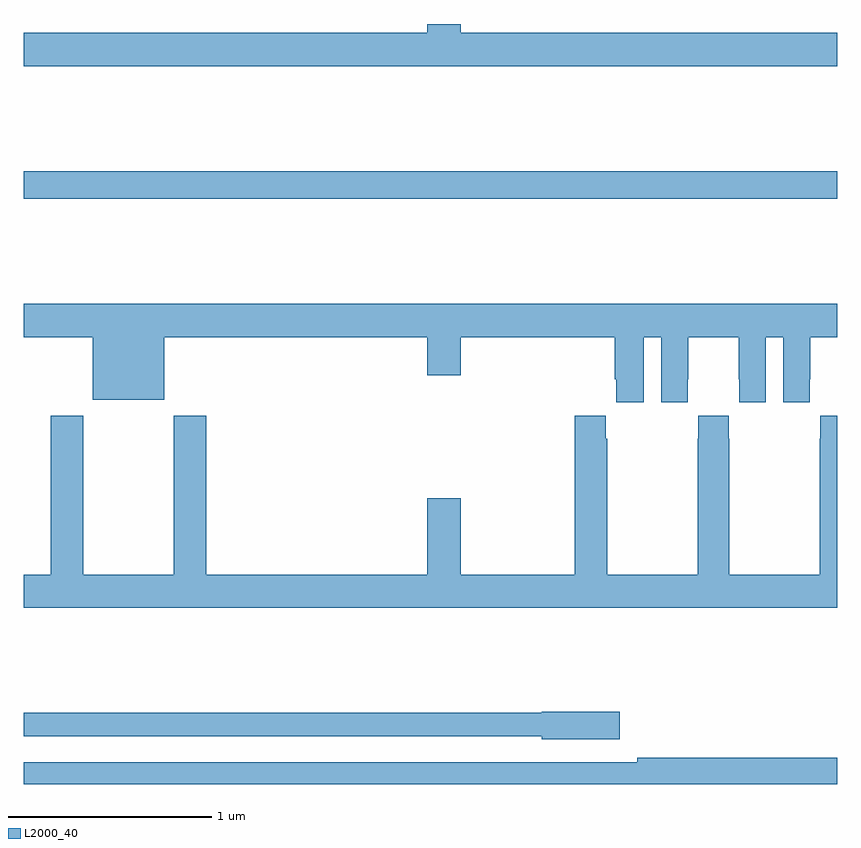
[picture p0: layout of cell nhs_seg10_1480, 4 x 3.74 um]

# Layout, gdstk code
import gdstk
lib = gdstk.Library(unit=1e-6, precision=1e-09)
def R(c, l, rs):  # rectangles x0, y0, x1, y1
    for r in rs: c.add(gdstk.rectangle(r[:2], r[2:], *l))
def P(c, l, *ps):  # polygons
    for p in ps: c.add(gdstk.Polygon(p, *l))
L2000_40 = (2000, 40)

nhs_seg10_1480 = lib.new_cell('nhs_seg10_1480')
R(nhs_seg10_1480, L2000_40, [(187,1323.64,191,1323.776)])
P(nhs_seg10_1480, L2000_40, [(191,1324.456),(189.148,1324.456),(189.148,1324.5),(188.984,1324.5),(188.984,1324.456),(187,1324.456),(187,1324.292),(191,1324.292)],
  [(190.048,1322.96),(190.136,1322.96),(190.136,1322.64),(190.266,1322.64),(190.266,1322.752),(190.267,1322.752),(190.267,1322.96),(190.517,1322.96),(190.517,1322.752),(190.518,1322.752),(190.518,1322.64),(190.648,1322.64),(190.648,1322.96),(190.736,1322.96),(190.736,1322.64),(190.866,1322.64),(190.866,1322.752),(190.867,1322.752),(190.867,1322.96),(191,1322.96),(191,1323.124),(187,1323.124),(187,1322.96),(187.34,1322.96),(187.34,1322.651),(187.69,1322.651),(187.69,1322.96),(188.984,1322.96),(188.984,1322.772),(189.148,1322.772),(189.148,1322.96),(189.905,1322.96),(189.905,1322.752),(189.914,1322.752),(189.914,1322.64),(190.048,1322.64)],
  [(191,1322.572),(190.917,1322.572),(190.917,1322.459),(190.915,1322.459),(190.915,1321.792),(190.47,1321.792),(190.47,1322.459),(190.467,1322.459),(190.467,1322.572),(190.317,1322.572),(190.317,1322.459),(190.315,1322.459),(190.315,1321.792),(189.87,1321.792),(189.87,1322.459),(189.863,1322.459),(189.863,1322.572),(189.71,1322.572),(189.71,1321.792),(189.148,1321.792),(189.148,1322.167),(188.984,1322.167),(188.984,1321.792),(187.898,1321.792),(187.898,1322.572),(187.738,1322.572),(187.738,1321.792),(187.293,1321.792),(187.293,1322.572),(187.133,1322.572),(187.133,1321.792),(187,1321.792),(187,1321.628),(191,1321.628)],
  [(189.931,1321.118),(189.546,1321.118),(189.546,1321.112),(187,1321.112),(187,1320.996),(189.546,1320.996),(189.546,1320.983),(189.931,1320.983)],
  [(191,1320.89),(190.018,1320.89),(190.018,1320.87),(187,1320.87),(187,1320.762),(191,1320.762)])

lib.write_gds('nhs_seg10_1480.gds')
